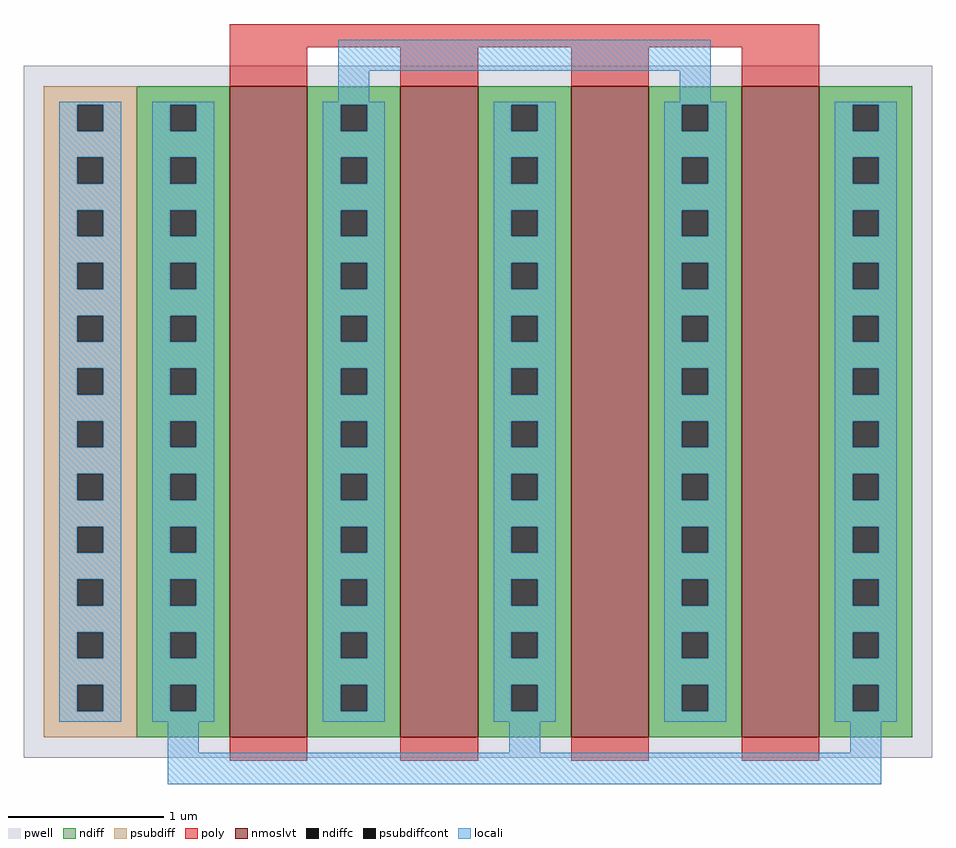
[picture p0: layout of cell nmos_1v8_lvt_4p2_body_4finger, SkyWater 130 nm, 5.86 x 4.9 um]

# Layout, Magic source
magic
tech sky130A
magscale 1 2
<< pwell >>
rect -1796 34 -624 926
<< nmoslvt >>
rect -1530 60 -1430 900
rect -1310 60 -1210 900
rect -1090 60 -990 900
rect -870 60 -770 900
<< ndiff >>
rect -1650 876 -1530 900
rect -1650 842 -1607 876
rect -1573 842 -1530 876
rect -1650 808 -1530 842
rect -1650 774 -1607 808
rect -1573 774 -1530 808
rect -1650 740 -1530 774
rect -1650 706 -1607 740
rect -1573 706 -1530 740
rect -1650 672 -1530 706
rect -1650 638 -1607 672
rect -1573 638 -1530 672
rect -1650 604 -1530 638
rect -1650 570 -1607 604
rect -1573 570 -1530 604
rect -1650 536 -1530 570
rect -1650 502 -1607 536
rect -1573 502 -1530 536
rect -1650 468 -1530 502
rect -1650 434 -1607 468
rect -1573 434 -1530 468
rect -1650 400 -1530 434
rect -1650 366 -1607 400
rect -1573 366 -1530 400
rect -1650 332 -1530 366
rect -1650 298 -1607 332
rect -1573 298 -1530 332
rect -1650 264 -1530 298
rect -1650 230 -1607 264
rect -1573 230 -1530 264
rect -1650 196 -1530 230
rect -1650 162 -1607 196
rect -1573 162 -1530 196
rect -1650 128 -1530 162
rect -1650 94 -1607 128
rect -1573 94 -1530 128
rect -1650 60 -1530 94
rect -1430 876 -1310 900
rect -1430 842 -1387 876
rect -1353 842 -1310 876
rect -1430 808 -1310 842
rect -1430 774 -1387 808
rect -1353 774 -1310 808
rect -1430 740 -1310 774
rect -1430 706 -1387 740
rect -1353 706 -1310 740
rect -1430 672 -1310 706
rect -1430 638 -1387 672
rect -1353 638 -1310 672
rect -1430 604 -1310 638
rect -1430 570 -1387 604
rect -1353 570 -1310 604
rect -1430 536 -1310 570
rect -1430 502 -1387 536
rect -1353 502 -1310 536
rect -1430 468 -1310 502
rect -1430 434 -1387 468
rect -1353 434 -1310 468
rect -1430 400 -1310 434
rect -1430 366 -1387 400
rect -1353 366 -1310 400
rect -1430 332 -1310 366
rect -1430 298 -1387 332
rect -1353 298 -1310 332
rect -1430 264 -1310 298
rect -1430 230 -1387 264
rect -1353 230 -1310 264
rect -1430 196 -1310 230
rect -1430 162 -1387 196
rect -1353 162 -1310 196
rect -1430 128 -1310 162
rect -1430 94 -1387 128
rect -1353 94 -1310 128
rect -1430 60 -1310 94
rect -1210 876 -1090 900
rect -1210 842 -1167 876
rect -1133 842 -1090 876
rect -1210 808 -1090 842
rect -1210 774 -1167 808
rect -1133 774 -1090 808
rect -1210 740 -1090 774
rect -1210 706 -1167 740
rect -1133 706 -1090 740
rect -1210 672 -1090 706
rect -1210 638 -1167 672
rect -1133 638 -1090 672
rect -1210 604 -1090 638
rect -1210 570 -1167 604
rect -1133 570 -1090 604
rect -1210 536 -1090 570
rect -1210 502 -1167 536
rect -1133 502 -1090 536
rect -1210 468 -1090 502
rect -1210 434 -1167 468
rect -1133 434 -1090 468
rect -1210 400 -1090 434
rect -1210 366 -1167 400
rect -1133 366 -1090 400
rect -1210 332 -1090 366
rect -1210 298 -1167 332
rect -1133 298 -1090 332
rect -1210 264 -1090 298
rect -1210 230 -1167 264
rect -1133 230 -1090 264
rect -1210 196 -1090 230
rect -1210 162 -1167 196
rect -1133 162 -1090 196
rect -1210 128 -1090 162
rect -1210 94 -1167 128
rect -1133 94 -1090 128
rect -1210 60 -1090 94
rect -990 876 -870 900
rect -990 842 -947 876
rect -913 842 -870 876
rect -990 808 -870 842
rect -990 774 -947 808
rect -913 774 -870 808
rect -990 740 -870 774
rect -990 706 -947 740
rect -913 706 -870 740
rect -990 672 -870 706
rect -990 638 -947 672
rect -913 638 -870 672
rect -990 604 -870 638
rect -990 570 -947 604
rect -913 570 -870 604
rect -990 536 -870 570
rect -990 502 -947 536
rect -913 502 -870 536
rect -990 468 -870 502
rect -990 434 -947 468
rect -913 434 -870 468
rect -990 400 -870 434
rect -990 366 -947 400
rect -913 366 -870 400
rect -990 332 -870 366
rect -990 298 -947 332
rect -913 298 -870 332
rect -990 264 -870 298
rect -990 230 -947 264
rect -913 230 -870 264
rect -990 196 -870 230
rect -990 162 -947 196
rect -913 162 -870 196
rect -990 128 -870 162
rect -990 94 -947 128
rect -913 94 -870 128
rect -990 60 -870 94
rect -770 876 -650 900
rect -770 842 -727 876
rect -693 842 -650 876
rect -770 808 -650 842
rect -770 774 -727 808
rect -693 774 -650 808
rect -770 740 -650 774
rect -770 706 -727 740
rect -693 706 -650 740
rect -770 672 -650 706
rect -770 638 -727 672
rect -693 638 -650 672
rect -770 604 -650 638
rect -770 570 -727 604
rect -693 570 -650 604
rect -770 536 -650 570
rect -770 502 -727 536
rect -693 502 -650 536
rect -770 468 -650 502
rect -770 434 -727 468
rect -693 434 -650 468
rect -770 400 -650 434
rect -770 366 -727 400
rect -693 366 -650 400
rect -770 332 -650 366
rect -770 298 -727 332
rect -693 298 -650 332
rect -770 264 -650 298
rect -770 230 -727 264
rect -693 230 -650 264
rect -770 196 -650 230
rect -770 162 -727 196
rect -693 162 -650 196
rect -770 128 -650 162
rect -770 94 -727 128
rect -693 94 -650 128
rect -770 60 -650 94
<< ndiffc >>
rect -1607 842 -1573 876
rect -1607 774 -1573 808
rect -1607 706 -1573 740
rect -1607 638 -1573 672
rect -1607 570 -1573 604
rect -1607 502 -1573 536
rect -1607 434 -1573 468
rect -1607 366 -1573 400
rect -1607 298 -1573 332
rect -1607 230 -1573 264
rect -1607 162 -1573 196
rect -1607 94 -1573 128
rect -1387 842 -1353 876
rect -1387 774 -1353 808
rect -1387 706 -1353 740
rect -1387 638 -1353 672
rect -1387 570 -1353 604
rect -1387 502 -1353 536
rect -1387 434 -1353 468
rect -1387 366 -1353 400
rect -1387 298 -1353 332
rect -1387 230 -1353 264
rect -1387 162 -1353 196
rect -1387 94 -1353 128
rect -1167 842 -1133 876
rect -1167 774 -1133 808
rect -1167 706 -1133 740
rect -1167 638 -1133 672
rect -1167 570 -1133 604
rect -1167 502 -1133 536
rect -1167 434 -1133 468
rect -1167 366 -1133 400
rect -1167 298 -1133 332
rect -1167 230 -1133 264
rect -1167 162 -1133 196
rect -1167 94 -1133 128
rect -947 842 -913 876
rect -947 774 -913 808
rect -947 706 -913 740
rect -947 638 -913 672
rect -947 570 -913 604
rect -947 502 -913 536
rect -947 434 -913 468
rect -947 366 -913 400
rect -947 298 -913 332
rect -947 230 -913 264
rect -947 162 -913 196
rect -947 94 -913 128
rect -727 842 -693 876
rect -727 774 -693 808
rect -727 706 -693 740
rect -727 638 -693 672
rect -727 570 -693 604
rect -727 502 -693 536
rect -727 434 -693 468
rect -727 366 -693 400
rect -727 298 -693 332
rect -727 230 -693 264
rect -727 162 -693 196
rect -727 94 -693 128
<< psubdiff >>
rect -1770 876 -1650 900
rect -1770 842 -1727 876
rect -1693 842 -1650 876
rect -1770 808 -1650 842
rect -1770 774 -1727 808
rect -1693 774 -1650 808
rect -1770 740 -1650 774
rect -1770 706 -1727 740
rect -1693 706 -1650 740
rect -1770 672 -1650 706
rect -1770 638 -1727 672
rect -1693 638 -1650 672
rect -1770 604 -1650 638
rect -1770 570 -1727 604
rect -1693 570 -1650 604
rect -1770 536 -1650 570
rect -1770 502 -1727 536
rect -1693 502 -1650 536
rect -1770 468 -1650 502
rect -1770 434 -1727 468
rect -1693 434 -1650 468
rect -1770 400 -1650 434
rect -1770 366 -1727 400
rect -1693 366 -1650 400
rect -1770 332 -1650 366
rect -1770 298 -1727 332
rect -1693 298 -1650 332
rect -1770 264 -1650 298
rect -1770 230 -1727 264
rect -1693 230 -1650 264
rect -1770 196 -1650 230
rect -1770 162 -1727 196
rect -1693 162 -1650 196
rect -1770 128 -1650 162
rect -1770 94 -1727 128
rect -1693 94 -1650 128
rect -1770 60 -1650 94
<< psubdiffcont >>
rect -1727 842 -1693 876
rect -1727 774 -1693 808
rect -1727 706 -1693 740
rect -1727 638 -1693 672
rect -1727 570 -1693 604
rect -1727 502 -1693 536
rect -1727 434 -1693 468
rect -1727 366 -1693 400
rect -1727 298 -1693 332
rect -1727 230 -1693 264
rect -1727 162 -1693 196
rect -1727 94 -1693 128
<< poly >>
rect -1530 950 -770 980
rect -1530 900 -1430 950
rect -1310 900 -1210 950
rect -1090 900 -990 950
rect -870 900 -770 950
rect -1530 30 -1430 60
rect -1310 30 -1210 60
rect -1090 30 -990 60
rect -870 30 -770 60
<< locali >>
rect -1390 920 -910 960
rect -1390 880 -1350 920
rect -950 880 -910 920
rect -1750 876 -1670 880
rect -1750 842 -1727 876
rect -1693 842 -1670 876
rect -1750 808 -1670 842
rect -1750 774 -1727 808
rect -1693 774 -1670 808
rect -1750 740 -1670 774
rect -1750 706 -1727 740
rect -1693 706 -1670 740
rect -1750 672 -1670 706
rect -1750 638 -1727 672
rect -1693 638 -1670 672
rect -1750 604 -1670 638
rect -1750 570 -1727 604
rect -1693 570 -1670 604
rect -1750 536 -1670 570
rect -1750 502 -1727 536
rect -1693 502 -1670 536
rect -1750 468 -1670 502
rect -1750 434 -1727 468
rect -1693 434 -1670 468
rect -1750 400 -1670 434
rect -1750 366 -1727 400
rect -1693 366 -1670 400
rect -1750 332 -1670 366
rect -1750 298 -1727 332
rect -1693 298 -1670 332
rect -1750 264 -1670 298
rect -1750 230 -1727 264
rect -1693 230 -1670 264
rect -1750 196 -1670 230
rect -1750 162 -1727 196
rect -1693 162 -1670 196
rect -1750 128 -1670 162
rect -1750 94 -1727 128
rect -1693 94 -1670 128
rect -1750 80 -1670 94
rect -1630 876 -1550 880
rect -1630 842 -1607 876
rect -1573 842 -1550 876
rect -1630 808 -1550 842
rect -1630 774 -1607 808
rect -1573 774 -1550 808
rect -1630 740 -1550 774
rect -1630 706 -1607 740
rect -1573 706 -1550 740
rect -1630 672 -1550 706
rect -1630 638 -1607 672
rect -1573 638 -1550 672
rect -1630 604 -1550 638
rect -1630 570 -1607 604
rect -1573 570 -1550 604
rect -1630 536 -1550 570
rect -1630 502 -1607 536
rect -1573 502 -1550 536
rect -1630 468 -1550 502
rect -1630 434 -1607 468
rect -1573 434 -1550 468
rect -1630 400 -1550 434
rect -1630 366 -1607 400
rect -1573 366 -1550 400
rect -1630 332 -1550 366
rect -1630 298 -1607 332
rect -1573 298 -1550 332
rect -1630 264 -1550 298
rect -1630 230 -1607 264
rect -1573 230 -1550 264
rect -1630 196 -1550 230
rect -1630 162 -1607 196
rect -1573 162 -1550 196
rect -1630 128 -1550 162
rect -1630 94 -1607 128
rect -1573 94 -1550 128
rect -1630 80 -1550 94
rect -1410 876 -1330 880
rect -1410 842 -1387 876
rect -1353 842 -1330 876
rect -1410 808 -1330 842
rect -1410 774 -1387 808
rect -1353 774 -1330 808
rect -1410 740 -1330 774
rect -1410 706 -1387 740
rect -1353 706 -1330 740
rect -1410 672 -1330 706
rect -1410 638 -1387 672
rect -1353 638 -1330 672
rect -1410 604 -1330 638
rect -1410 570 -1387 604
rect -1353 570 -1330 604
rect -1410 536 -1330 570
rect -1410 502 -1387 536
rect -1353 502 -1330 536
rect -1410 468 -1330 502
rect -1410 434 -1387 468
rect -1353 434 -1330 468
rect -1410 400 -1330 434
rect -1410 366 -1387 400
rect -1353 366 -1330 400
rect -1410 332 -1330 366
rect -1410 298 -1387 332
rect -1353 298 -1330 332
rect -1410 264 -1330 298
rect -1410 230 -1387 264
rect -1353 230 -1330 264
rect -1410 196 -1330 230
rect -1410 162 -1387 196
rect -1353 162 -1330 196
rect -1410 128 -1330 162
rect -1410 94 -1387 128
rect -1353 94 -1330 128
rect -1410 80 -1330 94
rect -1190 876 -1110 880
rect -1190 842 -1167 876
rect -1133 842 -1110 876
rect -1190 808 -1110 842
rect -1190 774 -1167 808
rect -1133 774 -1110 808
rect -1190 740 -1110 774
rect -1190 706 -1167 740
rect -1133 706 -1110 740
rect -1190 672 -1110 706
rect -1190 638 -1167 672
rect -1133 638 -1110 672
rect -1190 604 -1110 638
rect -1190 570 -1167 604
rect -1133 570 -1110 604
rect -1190 536 -1110 570
rect -1190 502 -1167 536
rect -1133 502 -1110 536
rect -1190 468 -1110 502
rect -1190 434 -1167 468
rect -1133 434 -1110 468
rect -1190 400 -1110 434
rect -1190 366 -1167 400
rect -1133 366 -1110 400
rect -1190 332 -1110 366
rect -1190 298 -1167 332
rect -1133 298 -1110 332
rect -1190 264 -1110 298
rect -1190 230 -1167 264
rect -1133 230 -1110 264
rect -1190 196 -1110 230
rect -1190 162 -1167 196
rect -1133 162 -1110 196
rect -1190 128 -1110 162
rect -1190 94 -1167 128
rect -1133 94 -1110 128
rect -1190 80 -1110 94
rect -970 876 -890 880
rect -970 842 -947 876
rect -913 842 -890 876
rect -970 808 -890 842
rect -970 774 -947 808
rect -913 774 -890 808
rect -970 740 -890 774
rect -970 706 -947 740
rect -913 706 -890 740
rect -970 672 -890 706
rect -970 638 -947 672
rect -913 638 -890 672
rect -970 604 -890 638
rect -970 570 -947 604
rect -913 570 -890 604
rect -970 536 -890 570
rect -970 502 -947 536
rect -913 502 -890 536
rect -970 468 -890 502
rect -970 434 -947 468
rect -913 434 -890 468
rect -970 400 -890 434
rect -970 366 -947 400
rect -913 366 -890 400
rect -970 332 -890 366
rect -970 298 -947 332
rect -913 298 -890 332
rect -970 264 -890 298
rect -970 230 -947 264
rect -913 230 -890 264
rect -970 196 -890 230
rect -970 162 -947 196
rect -913 162 -890 196
rect -970 128 -890 162
rect -970 94 -947 128
rect -913 94 -890 128
rect -970 80 -890 94
rect -750 876 -670 880
rect -750 842 -727 876
rect -693 842 -670 876
rect -750 808 -670 842
rect -750 774 -727 808
rect -693 774 -670 808
rect -750 740 -670 774
rect -750 706 -727 740
rect -693 706 -670 740
rect -750 672 -670 706
rect -750 638 -727 672
rect -693 638 -670 672
rect -750 604 -670 638
rect -750 570 -727 604
rect -693 570 -670 604
rect -750 536 -670 570
rect -750 502 -727 536
rect -693 502 -670 536
rect -750 468 -670 502
rect -750 434 -727 468
rect -693 434 -670 468
rect -750 400 -670 434
rect -750 366 -727 400
rect -693 366 -670 400
rect -750 332 -670 366
rect -750 298 -727 332
rect -693 298 -670 332
rect -750 264 -670 298
rect -750 230 -727 264
rect -693 230 -670 264
rect -750 196 -670 230
rect -750 162 -727 196
rect -693 162 -670 196
rect -750 128 -670 162
rect -750 94 -727 128
rect -693 94 -670 128
rect -750 80 -670 94
rect -1610 40 -1570 80
rect -1170 40 -1130 80
rect -730 40 -690 80
rect -1610 0 -690 40
<< end >>
